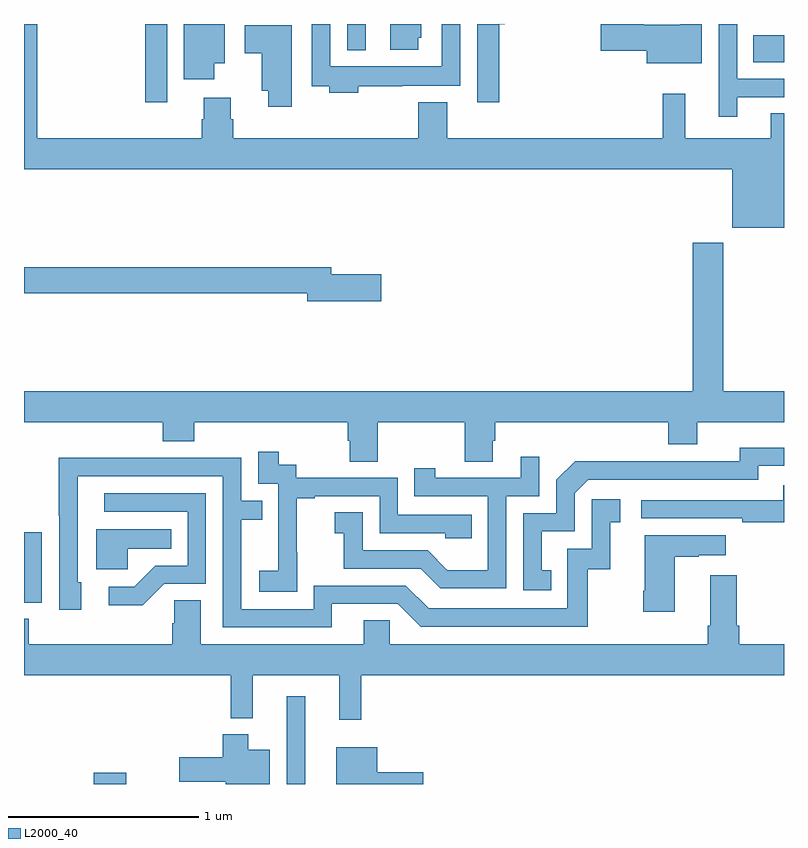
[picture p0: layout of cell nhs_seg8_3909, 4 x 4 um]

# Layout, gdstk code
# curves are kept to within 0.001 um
import gdstk
lib = gdstk.Library(unit=1e-6, precision=1e-09)
def R(c, l, rs):  # rectangles x0, y0, x1, y1
    for r in rs: c.add(gdstk.rectangle(r[:2], r[2:], *l))
def P(c, l, *ps):  # polygons
    for p in ps: c.add(gdstk.Polygon(p, *l))
L2000_40 = (2000, 40)

nhs_seg8_3909 = lib.new_cell('nhs_seg8_3909')
R(nhs_seg8_3909, L2000_40, [(351.368,1143.9,351.538,1143.958), (352.383,1143.9,352.48,1144.363), (351,1144.854,351.093,1145.224), (351.637,1147.488,351.753,1147.9), (354.838,1147.7,355,1147.84), (352.701,1147.763,352.798,1147.9)])
P(nhs_seg8_3909, L2000_40, [(353.074,1147.827),(353.092,1147.827),(353.092,1147.9),(352.928,1147.9),(352.928,1147.764),(353.074,1147.764)],
  [(354.754,1147.515),(355,1147.515),(355,1147.611),(354.753,1147.611),(354.753,1147.9),(354.657,1147.9),(354.657,1147.413),(354.754,1147.413)],
  [(352,1147.694),(352.057,1147.694),(352.057,1147.9),(351.842,1147.9),(351.842,1147.608),(352,1147.608)],
  [(353.501,1147.898),(353.531,1147.898),(353.531,1147.9),(353.385,1147.9),(353.385,1147.488),(353.501,1147.488)],
  [(352.76,1147.572),(352.991,1147.572),(352.991,1147.574),(353.295,1147.574),(353.295,1147.9),(353.199,1147.9),(353.199,1147.678),(352.611,1147.678),(352.611,1147.9),(352.515,1147.9),(352.515,1147.572),(352.607,1147.572),(352.607,1147.538),(352.76,1147.538)],
  [(355,1147.43),(354.929,1147.43),(354.929,1147.3),(354.479,1147.3),(354.479,1147.534),(354.361,1147.534),(354.361,1147.3),(353.227,1147.3),(353.227,1147.489),(353.075,1147.489),(353.075,1147.3),(352.1,1147.3),(352.1,1147.398),(352.087,1147.398),(352.087,1147.513),(351.947,1147.513),(351.947,1147.398),(351.935,1147.398),(351.935,1147.3),(351.07,1147.3),(351.07,1147.9),(351,1147.9),(351,1147.136),(354.728,1147.136),(354.728,1146.827),(355,1146.827)],
  [(354.567,1147.9),(354.455,1147.9),(354.455,1147.896),(354.261,1147.896),(354.261,1147.9),(354.036,1147.9),(354.036,1147.759),(354.278,1147.759),(354.278,1147.694),(354.567,1147.694)],
  [(352.408,1147.894),(352.161,1147.894),(352.161,1147.747),(352.25,1147.747),(352.25,1147.55),(352.286,1147.55),(352.286,1147.464),(352.408,1147.464)],
  [(352.863,1145.804),(353.32,1145.804),(353.32,1145.596),(353.467,1145.596),(353.467,1145.706),(353.48,1145.706),(353.48,1145.804),(354.392,1145.804),(354.392,1145.687),(354.544,1145.687),(354.544,1145.804),(355,1145.804),(355,1145.968),(354.681,1145.968),(354.681,1146.748),(354.521,1146.748),(354.521,1145.968),(351,1145.968),(351,1145.804),(351.731,1145.804),(351.731,1145.705),(351.896,1145.705),(351.896,1145.804),(352.703,1145.804),(352.703,1145.706),(352.715,1145.706),(352.715,1145.596),(352.863,1145.596)],
  [(352.879,1146.584),(352.618,1146.584),(352.618,1146.62),(351,1146.62),(351,1146.484),(352.49,1146.484),(352.49,1146.442),(352.879,1146.442)],
  [(353.774,1145.025),(353.725,1145.025),(353.725,1145.229),(353.898,1145.229),(353.898,1145.43),(353.97,1145.502),(354.864,1145.502),(354.864,1145.574),(355,1145.574),(355,1145.671),(354.768,1145.671),(354.768,1145.598),(354.308,1145.598),(354.308,1145.6),(353.9,1145.6),(353.802,1145.502),(353.802,1145.325),(353.628,1145.325),(353.628,1144.92),(353.774,1144.92)],
  [(352.437,1145.119),(352.436,1145.119),(352.436,1145.403),(352.531,1145.403),(352.531,1145.415),(352.872,1145.415),(352.872,1145.22),(353.217,1145.22),(353.217,1145.193),(353.357,1145.193),(353.357,1145.316),(352.968,1145.316),(352.968,1145.511),(352.434,1145.511),(352.434,1145.58),(352.342,1145.58),(352.342,1145.65),(352.233,1145.65),(352.233,1145.481),(352.338,1145.481),(352.338,1145.252),(352.337,1145.252),(352.337,1145.023),(352.239,1145.023),(352.239,1144.913),(352.437,1144.913)],
  [(353.538,1145.415),(353.712,1145.415),(353.712,1145.623),(353.615,1145.623),(353.615,1145.511),(353.164,1145.511),(353.164,1145.563),(353.053,1145.563),(353.053,1145.415),(353.442,1145.415),(353.442,1145.026),(353.228,1145.026),(353.124,1145.13),(352.782,1145.13),(352.782,1145.329),(352.635,1145.329),(352.635,1145.219),(352.684,1145.219),(352.684,1145.034),(353.087,1145.034),(353.192,1144.929),(353.538,1144.929)],
  [(352.621,1144.848),(352.968,1144.848),(353.088,1144.728),(353.968,1144.728),(353.968,1145.031),(354.086,1145.031),(354.086,1145.277),(354.139,1145.277),(354.139,1145.398),(353.988,1145.398),(353.988,1145.139),(353.859,1145.139),(353.859,1144.824),(353.13,1144.824),(353.01,1144.944),(352.524,1144.944),(352.524,1144.821),(352.143,1144.821),(352.143,1145.29),(352.253,1145.29),(352.253,1145.391),(352.143,1145.391),(352.143,1145.616),(351.647,1145.616),(351.647,1145.618),(351.184,1145.618),(351.184,1145.311),(351.186,1145.311),(351.186,1144.818),(351.301,1144.818),(351.301,1144.962),(351.282,1144.962),(351.283,1145.52),(352.047,1145.52),(352.047,1144.725),(352.621,1144.725)],
  [(355,1145.473),(354.997,1145.473),(354.997,1145.394),(354.249,1145.394),(354.249,1145.298),(354.781,1145.298),(354.781,1145.278),(355,1145.278)],
  [(351.738,1144.953),(351.957,1144.953),(351.957,1145.43),(351.423,1145.43),(351.423,1145.334),(351.861,1145.334),(351.861,1145.049),(351.692,1145.049),(351.581,1144.938),(351.447,1144.938),(351.447,1144.841),(351.625,1144.841)],
  [(351.546,1145.138),(351.776,1145.138),(351.776,1145.242),(351.38,1145.242),(351.38,1145.03),(351.546,1145.03)],
  [(354.424,1145.095),(354.551,1145.095),(354.551,1145.105),(354.694,1145.105),(354.694,1145.209),(354.266,1145.209),(354.266,1144.918),(354.259,1144.918),(354.259,1144.806),(354.424,1144.806)],
  [(352.775,1144.472),(355,1144.472),(355,1144.636),(354.764,1144.636),(354.764,1144.732),(354.751,1144.732),(354.751,1144.999),(354.611,1144.999),(354.611,1144.732),(354.599,1144.732),(354.599,1144.636),(352.926,1144.636),(352.926,1144.763),(352.787,1144.763),(352.787,1144.636),(351.931,1144.636),(351.931,1144.868),(351.792,1144.868),(351.792,1144.745),(351.779,1144.745),(351.779,1144.636),(351.026,1144.636),(351.026,1144.769),(351,1144.769),(351,1144.472),(352.087,1144.472),(352.087,1144.247),(352.205,1144.247),(352.205,1144.472),(352.658,1144.472),(352.658,1144.239),(352.775,1144.239)],
  [(352.294,1144.081),(352.18,1144.081),(352.18,1144.162),(352.046,1144.162),(352.046,1144.041),(351.816,1144.041),(351.816,1143.911),(352.062,1143.911),(352.062,1143.9),(352.294,1143.9)],
  [(353.101,1143.962),(352.858,1143.962),(352.858,1144.093),(352.643,1144.093),(352.643,1143.9),(353.101,1143.9)])

lib.write_gds('nhs_seg8_3909.gds')
